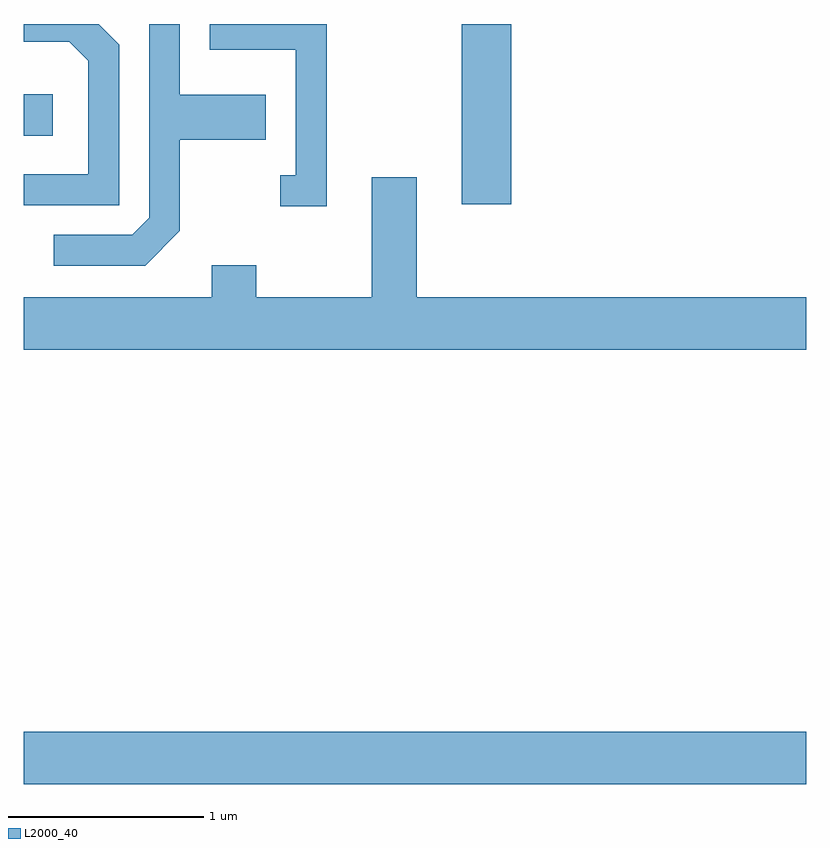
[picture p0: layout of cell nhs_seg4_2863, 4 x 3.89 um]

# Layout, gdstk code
import gdstk
lib = gdstk.Library(unit=1e-6, precision=1e-09)
def R(c, l, rs):  # rectangles x0, y0, x1, y1
    for r in rs: c.add(gdstk.rectangle(r[:2], r[2:], *l))
def P(c, l, *ps):  # polygons
    for p in ps: c.add(gdstk.Polygon(p, *l))
L2000_40 = (2000, 40)

nhs_seg4_2863 = lib.new_cell('nhs_seg4_2863')
R(nhs_seg4_2863, L2000_40, [(269.611,1268.096,273.611,1268.364), (271.851,1271.061,272.104,1271.982), (269.611,1271.411,269.759,1271.624)])
P(nhs_seg4_2863, L2000_40, [(270.409,1270.924),(270.409,1271.391),(270.849,1271.391),(270.849,1271.619),(270.409,1271.619),(270.409,1271.982),(270.251,1271.982),(270.251,1270.992),(270.164,1270.904),(269.763,1270.904),(269.763,1270.746),(270.232,1270.746)],
  [(271.159,1271.982),(270.561,1271.982),(270.561,1271.851),(271.001,1271.851),(271.001,1271.209),(270.923,1271.209),(270.923,1271.051),(271.159,1271.051)],
  [(270.099,1271.877),(269.994,1271.982),(269.611,1271.982),(269.611,1271.891),(269.844,1271.891),(269.941,1271.794),(269.941,1271.214),(269.611,1271.214),(269.611,1271.056),(270.099,1271.056)],
  [(273.611,1270.584),(271.619,1270.584),(271.619,1271.199),(271.391,1271.199),(271.391,1270.584),(270.799,1270.584),(270.799,1270.749),(270.571,1270.749),(270.571,1270.584),(269.611,1270.584),(269.611,1270.316),(273.611,1270.316)])

lib.write_gds('nhs_seg4_2863.gds')
